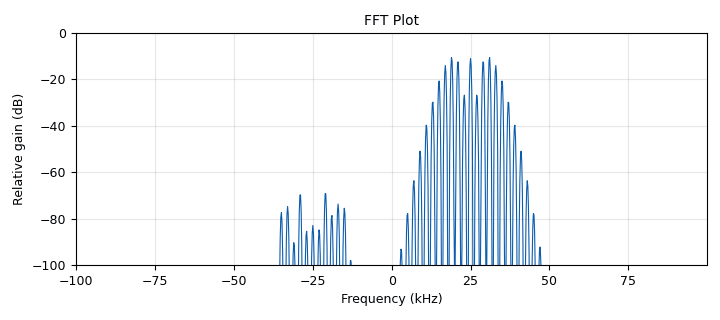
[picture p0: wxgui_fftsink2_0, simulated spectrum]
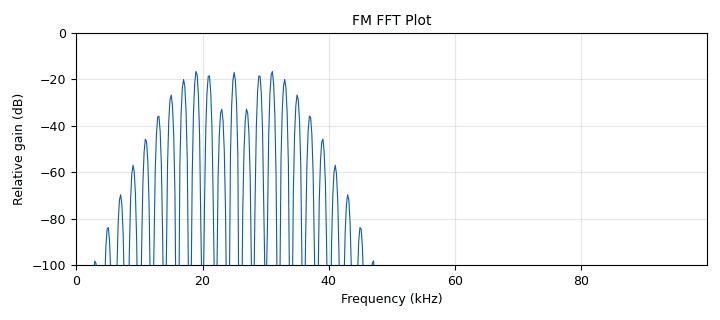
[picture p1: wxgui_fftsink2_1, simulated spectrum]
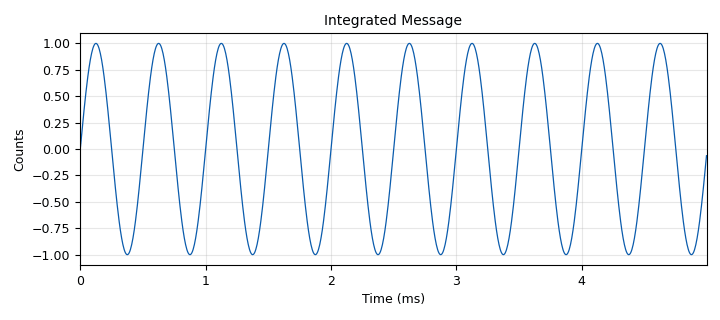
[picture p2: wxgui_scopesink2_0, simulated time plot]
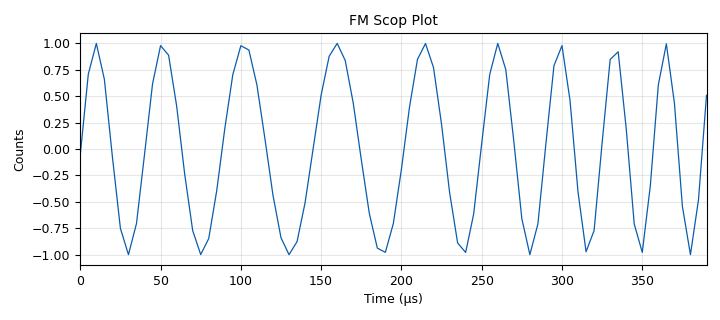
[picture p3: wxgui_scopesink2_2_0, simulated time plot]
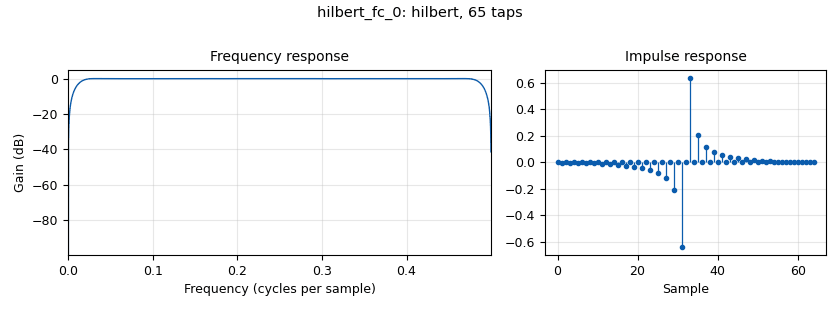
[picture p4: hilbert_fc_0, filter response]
<?xml version='1.0' encoding='utf-8'?>
<?grc format='1' created='3.7.11'?>
<flow_graph>
<block>
<key>options</key>
<param><key>id</key><value>top_block</value></param>
<param><key>category</key><value>Custom</value></param>
<param><key>generate_options</key><value>wx_gui</value></param>
</block>
<block>
<key>variable_slider</key>
<param><key>id</key><value>beta</value></param>
<param><key>converver</key><value>float_converter</value></param>
<param><key>value</key><value>4</value></param>
<param><key>label</key><value></value></param>
<param><key>max</key><value>4</value></param>
<param><key>min</key><value>0</value></param>
<param><key>num_steps</key><value>1000</value></param>
<param><key>style</key><value>wx.SL_HORIZONTAL</value></param>
</block>
<block>
<key>variable_slider</key>
<param><key>id</key><value>fc</value></param>
<param><key>converver</key><value>float_converter</value></param>
<param><key>value</key><value>samp_rate/8</value></param>
<param><key>label</key><value></value></param>
<param><key>max</key><value>samp_rate/2</value></param>
<param><key>min</key><value>0</value></param>
<param><key>num_steps</key><value>100</value></param>
<param><key>style</key><value>wx.SL_HORIZONTAL</value></param>
</block>
<block>
<key>variable_slider</key>
<param><key>id</key><value>fm</value></param>
<param><key>converver</key><value>float_converter</value></param>
<param><key>value</key><value>2000</value></param>
<param><key>label</key><value></value></param>
<param><key>max</key><value>10000</value></param>
<param><key>min</key><value>0</value></param>
<param><key>num_steps</key><value>100</value></param>
<param><key>style</key><value>wx.SL_HORIZONTAL</value></param>
</block>
<block>
<key>variable</key>
<param><key>id</key><value>samp_rate</value></param>
<param><key>value</key><value>200000</value></param>
</block>
<block>
<key>analog_sig_source_x</key>
<param><key>id</key><value>analog_sig_source_x_0_1</value></param>
<param><key>amp</key><value>1</value></param>
<param><key>freq</key><value>fm</value></param>
<param><key>offset</key><value>0</value></param>
<param><key>type</key><value>float</value></param>
<param><key>samp_rate</key><value>samp_rate</value></param>
<param><key>waveform</key><value>analog.GR_SIN_WAVE</value></param>
</block>
<block>
<key>analog_sig_source_x</key>
<param><key>id</key><value>analog_sig_source_x_1</value></param>
<param><key>amp</key><value>-1</value></param>
<param><key>freq</key><value>fc</value></param>
<param><key>offset</key><value>0</value></param>
<param><key>type</key><value>float</value></param>
<param><key>samp_rate</key><value>samp_rate</value></param>
<param><key>waveform</key><value>analog.GR_SIN_WAVE</value></param>
</block>
<block>
<key>analog_sig_source_x</key>
<param><key>id</key><value>analog_sig_source_x_1_0</value></param>
<param><key>amp</key><value>1</value></param>
<param><key>freq</key><value>fc</value></param>
<param><key>offset</key><value>0</value></param>
<param><key>type</key><value>float</value></param>
<param><key>samp_rate</key><value>samp_rate</value></param>
<param><key>waveform</key><value>analog.GR_COS_WAVE</value></param>
</block>
<block>
<key>blocks_add_xx</key>
<param><key>id</key><value>blocks_add_xx_0</value></param>
<param><key>type</key><value>float</value></param>
</block>
<block>
<key>blocks_file_sink</key>
<param><key>id</key><value>blocks_file_sink_0_0_0_0</value></param>
<param><key>_enabled</key><value>0</value></param>
<param><key>file</key><value>/home/ftalaei/FM tutorial/FM_TX.dat</value></param>
<param><key>type</key><value>float</value></param>
</block>
<block>
<key>blocks_multiply_const_vxx</key>
<param><key>id</key><value>blocks_multiply_const_vxx_1</value></param>
<param><key>const</key><value>beta</value></param>
<param><key>type</key><value>float</value></param>
</block>
<block>
<key>blocks_multiply_xx</key>
<param><key>id</key><value>blocks_multiply_xx_0</value></param>
<param><key>type</key><value>float</value></param>
</block>
<block>
<key>blocks_multiply_xx</key>
<param><key>id</key><value>blocks_multiply_xx_0_0</value></param>
<param><key>type</key><value>float</value></param>
</block>
<block>
<key>blocks_throttle</key>
<param><key>id</key><value>blocks_throttle_0</value></param>
<param><key>samples_per_second</key><value>samp_rate</value></param>
<param><key>type</key><value>float</value></param>
</block>
<block>
<key>blocks_transcendental</key>
<param><key>id</key><value>blocks_transcendental_0</value></param>
<param><key>name</key><value>cos</value></param>
<param><key>type</key><value>float</value></param>
</block>
<block>
<key>blocks_transcendental</key>
<param><key>id</key><value>blocks_transcendental_1</value></param>
<param><key>name</key><value>sin</value></param>
<param><key>type</key><value>float</value></param>
</block>
<block>
<key>hilbert_fc</key>
<param><key>id</key><value>hilbert_fc_0</value></param>
<param><key>num_taps</key><value>65</value></param>
<param><key>win</key><value>firdes.WIN_HAMMING</value></param>
</block>
<block>
<key>notebook</key>
<param><key>id</key><value>notebook</value></param>
<param><key>labels</key><value>['tab1', 'tab2', 'tab3','tab4','tab5']</value></param>
<param><key>style</key><value>wx.NB_TOP</value></param>
</block>
<block>
<key>uhd_usrp_sink</key>
<param><key>id</key><value>uhd_usrp_sink_0</value></param>
<param><key>ant0</key><value></value></param>
<param><key>center_freq0</key><value>915e6</value></param>
<param><key>norm_gain0</key><value>False</value></param>
<param><key>gain0</key><value>0</value></param>
<param><key>clock_rate</key><value>0.0</value></param>
<param><key>dev_args</key><value>""</value></param>
<param><key>type</key><value>fc32</value></param>
<param><key>samp_rate</key><value>samp_rate</value></param>
<param><key>hide_cmd_port</key><value>False</value></param>
<param><key>hide_lo_controls</key><value>True</value></param>
<param><key>sync</key><value></value></param>
<param><key>len_tag_name</key><value></value></param>
</block>
<block>
<key>wxgui_fftsink2</key>
<param><key>id</key><value>wxgui_fftsink2_0</value></param>
<param><key>avg_alpha</key><value>0</value></param>
<param><key>average</key><value>False</value></param>
<param><key>baseband_freq</key><value>0</value></param>
<param><key>fft_size</key><value>1024</value></param>
<param><key>freqvar</key><value>None</value></param>
<param><key>notebook</key><value>notebook,4</value></param>
<param><key>peak_hold</key><value>False</value></param>
<param><key>ref_level</key><value>0</value></param>
<param><key>ref_scale</key><value>2.0</value></param>
<param><key>fft_rate</key><value>15</value></param>
<param><key>samp_rate</key><value>samp_rate</value></param>
<param><key>title</key><value>FFT Plot</value></param>
<param><key>type</key><value>complex</value></param>
<param><key>win</key><value>None</value></param>
<param><key>y_divs</key><value>10</value></param>
<param><key>y_per_div</key><value>10</value></param>
</block>
<block>
<key>wxgui_fftsink2</key>
<param><key>id</key><value>wxgui_fftsink2_1</value></param>
<param><key>avg_alpha</key><value>0</value></param>
<param><key>average</key><value>False</value></param>
<param><key>baseband_freq</key><value>0</value></param>
<param><key>fft_size</key><value>1024</value></param>
<param><key>freqvar</key><value>None</value></param>
<param><key>notebook</key><value>notebook, 2</value></param>
<param><key>peak_hold</key><value>False</value></param>
<param><key>ref_level</key><value>0</value></param>
<param><key>ref_scale</key><value>2.0</value></param>
<param><key>fft_rate</key><value>15</value></param>
<param><key>samp_rate</key><value>samp_rate</value></param>
<param><key>title</key><value>FM FFT Plot</value></param>
<param><key>type</key><value>float</value></param>
<param><key>win</key><value>None</value></param>
<param><key>y_divs</key><value>10</value></param>
<param><key>y_per_div</key><value>10</value></param>
</block>
<block>
<key>wxgui_scopesink2</key>
<param><key>id</key><value>wxgui_scopesink2_0</value></param>
<param><key>ac_couple</key><value>False</value></param>
<param><key>notebook</key><value>notebook, 0</value></param>
<param><key>num_inputs</key><value>1</value></param>
<param><key>samp_rate</key><value>samp_rate</value></param>
<param><key>t_scale</key><value>0</value></param>
<param><key>title</key><value>Integrated Message</value></param>
<param><key>trig_mode</key><value>wxgui.TRIG_MODE_AUTO</value></param>
<param><key>type</key><value>float</value></param>
<param><key>v_offset</key><value>0</value></param>
<param><key>v_scale</key><value>0</value></param>
<param><key>xy_mode</key><value>False</value></param>
<param><key>y_axis_label</key><value>Counts</value></param>
</block>
<block>
<key>wxgui_scopesink2</key>
<param><key>id</key><value>wxgui_scopesink2_2_0</value></param>
<param><key>ac_couple</key><value>False</value></param>
<param><key>notebook</key><value>notebook,1</value></param>
<param><key>num_inputs</key><value>1</value></param>
<param><key>samp_rate</key><value>samp_rate*1</value></param>
<param><key>t_scale</key><value>0</value></param>
<param><key>title</key><value>FM Scop Plot</value></param>
<param><key>trig_mode</key><value>wxgui.TRIG_MODE_AUTO</value></param>
<param><key>type</key><value>float</value></param>
<param><key>v_offset</key><value>0</value></param>
<param><key>v_scale</key><value>0</value></param>
<param><key>xy_mode</key><value>False</value></param>
<param><key>y_axis_label</key><value>Counts</value></param>
</block>
<connection><source_block_id>analog_sig_source_x_0_1</source_block_id><sink_block_id>blocks_multiply_const_vxx_1</sink_block_id><source_key>0</source_key><sink_key>0</sink_key></connection>
<connection><source_block_id>analog_sig_source_x_0_1</source_block_id><sink_block_id>wxgui_scopesink2_0</sink_block_id><source_key>0</source_key><sink_key>0</sink_key></connection>
<connection><source_block_id>analog_sig_source_x_1</source_block_id><sink_block_id>blocks_multiply_xx_0_0</sink_block_id><source_key>0</source_key><sink_key>1</sink_key></connection>
<connection><source_block_id>analog_sig_source_x_1_0</source_block_id><sink_block_id>blocks_multiply_xx_0</sink_block_id><source_key>0</source_key><sink_key>0</sink_key></connection>
<connection><source_block_id>blocks_add_xx_0</source_block_id><sink_block_id>blocks_throttle_0</sink_block_id><source_key>0</source_key><sink_key>0</sink_key></connection>
<connection><source_block_id>blocks_multiply_const_vxx_1</source_block_id><sink_block_id>blocks_transcendental_0</sink_block_id><source_key>0</source_key><sink_key>0</sink_key></connection>
<connection><source_block_id>blocks_multiply_const_vxx_1</source_block_id><sink_block_id>blocks_transcendental_1</sink_block_id><source_key>0</source_key><sink_key>0</sink_key></connection>
<connection><source_block_id>blocks_multiply_xx_0</source_block_id><sink_block_id>blocks_add_xx_0</sink_block_id><source_key>0</source_key><sink_key>0</sink_key></connection>
<connection><source_block_id>blocks_multiply_xx_0_0</source_block_id><sink_block_id>blocks_add_xx_0</sink_block_id><source_key>0</source_key><sink_key>1</sink_key></connection>
<connection><source_block_id>blocks_throttle_0</source_block_id><sink_block_id>blocks_file_sink_0_0_0_0</sink_block_id><source_key>0</source_key><sink_key>0</sink_key></connection>
<connection><source_block_id>blocks_throttle_0</source_block_id><sink_block_id>hilbert_fc_0</sink_block_id><source_key>0</source_key><sink_key>0</sink_key></connection>
<connection><source_block_id>blocks_throttle_0</source_block_id><sink_block_id>wxgui_fftsink2_1</sink_block_id><source_key>0</source_key><sink_key>0</sink_key></connection>
<connection><source_block_id>blocks_throttle_0</source_block_id><sink_block_id>wxgui_scopesink2_2_0</sink_block_id><source_key>0</source_key><sink_key>0</sink_key></connection>
<connection><source_block_id>blocks_transcendental_0</source_block_id><sink_block_id>blocks_multiply_xx_0</sink_block_id><source_key>0</source_key><sink_key>1</sink_key></connection>
<connection><source_block_id>blocks_transcendental_1</source_block_id><sink_block_id>blocks_multiply_xx_0_0</sink_block_id><source_key>0</source_key><sink_key>0</sink_key></connection>
<connection><source_block_id>hilbert_fc_0</source_block_id><sink_block_id>uhd_usrp_sink_0</sink_block_id><source_key>0</source_key><sink_key>0</sink_key></connection>
<connection><source_block_id>hilbert_fc_0</source_block_id><sink_block_id>wxgui_fftsink2_0</sink_block_id><source_key>0</source_key><sink_key>0</sink_key></connection>
</flow_graph>
